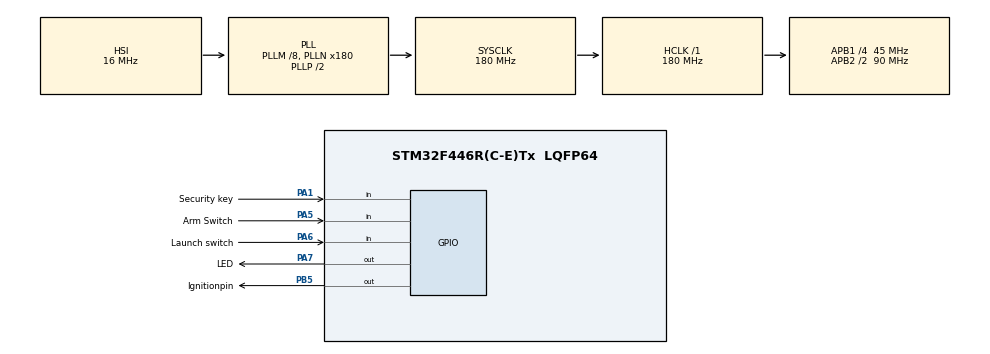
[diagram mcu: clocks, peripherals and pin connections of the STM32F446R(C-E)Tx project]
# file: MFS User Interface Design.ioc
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Mcu.Family=STM32F4
Mcu.Name=STM32F446R(C-E)Tx
Mcu.Package=LQFP64
NVIC.PriorityGroup=NVIC_PRIORITYGROUP_4
PA1.GPIO_Label=Security key
PA1.GPIO_PuPd=GPIO_PULLDOWN
PA1.Signal=GPIO_Input
PA13.Mode=Serial_Wire
PA13.Signal=SYS_JTMS-SWDIO
PA14.Mode=Serial_Wire
PA14.Signal=SYS_JTCK-SWCLK
PA5.GPIO_Label=Arm Switch
PA5.GPIO_PuPd=GPIO_PULLDOWN
PA5.Signal=GPIO_Input
PA6.GPIO_Label=Launch switch
PA6.GPIO_PuPd=GPIO_PULLDOWN
PA6.Signal=GPIO_Input
PA7.GPIO_Label=LED
PA7.GPIO_PuPd=GPIO_PULLDOWN
PA7.Signal=GPIO_Output
PB5.GPIO_Label=Ignitionpin
PB5.GPIO_PuPd=GPIO_PULLUP
PB5.PinState=GPIO_PIN_SET
PB5.Signal=GPIO_Output
ProjectManager.HeapSize=0x200
ProjectManager.StackSize=0x400
ProjectManager.TargetToolchain=STM32CubeIDE
RCC.AHBFreq_Value=180000000
RCC.APB1CLKDivider=RCC_HCLK_DIV4
RCC.APB1Freq_Value=45000000
RCC.APB1TimFreq_Value=90000000
RCC.APB2CLKDivider=RCC_HCLK_DIV2
RCC.APB2Freq_Value=90000000
RCC.APB2TimFreq_Value=180000000
RCC.CortexFreq_Value=180000000
RCC.HCLKFreq_Value=180000000
RCC.PLLM=8
RCC.PLLN=180
RCC.SYSCLKFreq_VALUE=180000000
RCC.SYSCLKSource=RCC_SYSCLKSOURCE_PLLCLK
RCC.USBFreq_Value=180000000
RCC.VCOOutputFreq_Value=360000000
board=custom

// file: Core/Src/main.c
/* USER CODE BEGIN Header */
/**
 ******************************************************************************
 * @file           : main.c
 * @brief          : Main program body
 ******************************************************************************
 * @attention
 *
 * Copyright (c) 2023 STMicroelectronics.
 * All rights reserved.
 *
 * This software is licensed under terms that can be found in the LICENSE file
 * in the root directory of this software component.
 * If no LICENSE file comes with this software, it is provided AS-IS.
 *
 ******************************************************************************
 */
/* USER CODE END Header */
#include "main.h"

/* USER CODE BEGIN Includes */
#include<stdbool.h>
#include<stdlib.h>
/* USER CODE END Includes */

void SystemClock_Config(void);
static void MX_GPIO_Init(void);

/* USER CODE BEGIN 0 */
bool Sec_key = 0, Arm_switch = 0, Ign_switch = 0;
bool seq_flag = 0;
bool ignition = 0;
void seq_check()
	{
		if(HAL_GPIO_ReadPin(GPIOA, GPIO_PIN_1) == 0 && HAL_GPIO_ReadPin(GPIOA, GPIO_PIN_5)== 0 && HAL_GPIO_ReadPin(GPIOA, GPIO_PIN_6) == 0) seq_flag = 1;
		else if(Sec_key==0 && HAL_GPIO_ReadPin(GPIOA, GPIO_PIN_5)==1) seq_flag=0;

	}

/* USER CODE END 0 */

int main(void)
{

  /* MCU Configuration--------------------------------------------------------*/

  /* Reset of all peripherals, Initializes the Flash interface and the Systick. */
  HAL_Init();

  /* Configure the system clock */
  SystemClock_Config();

  /* Initialize all configured peripherals */
  MX_GPIO_Init();

  /* Infinite loop */
  /* USER CODE BEGIN WHILE */
	while (1)
	{
		seq_check();
		if(seq_flag ==1){

			if(HAL_GPIO_ReadPin(GPIOA, GPIO_PIN_1) == 1 || Sec_key == 1)
			{
				Sec_key=1;

				if(HAL_GPIO_ReadPin(GPIOA, GPIO_PIN_1) == 0 && Arm_switch == 0  ) {
					Sec_key = 0; // Notify the user to reset the inputs
					seq_flag = 0;
					Arm_switch = 0;
					Ign_switch = 0;
				}

				else{
					if(HAL_GPIO_ReadPin(GPIOA, GPIO_PIN_5)== 1 || Arm_switch == 1 ){
						Arm_switch = 1;

						if(HAL_GPIO_ReadPin(GPIOA, GPIO_PIN_5) == 0) Arm_switch = 0;

						if(HAL_GPIO_ReadPin(GPIOA, GPIO_PIN_6) == 1 || Ign_switch == 1 ){
							HAL_Delay(5000);
							if(HAL_GPIO_ReadPin(GPIOA, GPIO_PIN_6) == 1) {
								Ign_switch = 1;

								HAL_GPIO_TogglePin(GPIOA, GPIO_PIN_7);
								HAL_GPIO_WritePin(GPIOB, GPIO_PIN_5, 0);
								HAL_Delay(2000);
								HAL_GPIO_TogglePin(GPIOA, GPIO_PIN_7);

								exit(0);
							}
							else
							{
								Sec_key=0;
								Arm_switch = 0;
								seq_flag = 0;
							}

						}
					}
				}
			}

		}
    /* USER CODE END WHILE */

	}
}

void SystemClock_Config(void)
{
  RCC_OscInitTypeDef RCC_OscInitStruct = {0};
  RCC_ClkInitTypeDef RCC_ClkInitStruct = {0};

  /** Configure the main internal regulator output voltage
  */
  __HAL_RCC_PWR_CLK_ENABLE();
  __HAL_PWR_VOLTAGESCALING_CONFIG(PWR_REGULATOR_VOLTAGE_SCALE1);
  /** Initializes the RCC Oscillators according to the specified parameters
  * in the RCC_OscInitTypeDef structure.
  */
  RCC_OscInitStruct.OscillatorType = RCC_OSCILLATORTYPE_HSI;
  RCC_OscInitStruct.HSIState = RCC_HSI_ON;
  RCC_OscInitStruct.HSICalibrationValue = RCC_HSICALIBRATION_DEFAULT;
  RCC_OscInitStruct.PLL.PLLState = RCC_PLL_ON;
  RCC_OscInitStruct.PLL.PLLSource = RCC_PLLSOURCE_HSI;
  RCC_OscInitStruct.PLL.PLLM = 8;
  RCC_OscInitStruct.PLL.PLLN = 180;
  RCC_OscInitStruct.PLL.PLLP = RCC_PLLP_DIV2;
  RCC_OscInitStruct.PLL.PLLQ = 2;
  RCC_OscInitStruct.PLL.PLLR = 2;
  if (HAL_RCC_OscConfig(&RCC_OscInitStruct) != HAL_OK)
  {
    Error_Handler();
  }
  /** Activate the Over-Drive mode
  */
  if (HAL_PWREx_EnableOverDrive() != HAL_OK)
  {
    Error_Handler();
  }
  /** Initializes the CPU, AHB and APB buses clocks
  */
  RCC_ClkInitStruct.ClockType = RCC_CLOCKTYPE_HCLK|RCC_CLOCKTYPE_SYSCLK
                              |RCC_CLOCKTYPE_PCLK1|RCC_CLOCKTYPE_PCLK2;
  RCC_ClkInitStruct.SYSCLKSource = RCC_SYSCLKSOURCE_PLLCLK;
  RCC_ClkInitStruct.AHBCLKDivider = RCC_SYSCLK_DIV1;
  RCC_ClkInitStruct.APB1CLKDivider = RCC_HCLK_DIV4;
  RCC_ClkInitStruct.APB2CLKDivider = RCC_HCLK_DIV2;

  if (HAL_RCC_ClockConfig(&RCC_ClkInitStruct, FLASH_LATENCY_5) != HAL_OK)
  {
    Error_Handler();
  }
}

static void MX_GPIO_Init(void)
{
  GPIO_InitTypeDef GPIO_InitStruct = {0};

  /* GPIO Ports Clock Enable */
  __HAL_RCC_GPIOA_CLK_ENABLE();
  __HAL_RCC_GPIOB_CLK_ENABLE();

  /*Configure GPIO pin Output Level */
  HAL_GPIO_WritePin(LED_GPIO_Port, LED_Pin, GPIO_PIN_RESET);

  /*Configure GPIO pin Output Level */
  HAL_GPIO_WritePin(Ignitionpin_GPIO_Port, Ignitionpin_Pin, GPIO_PIN_SET);

  /*Configure GPIO pins : Security_key_Pin Arm_Switch_Pin Launch_switch_Pin */
  GPIO_InitStruct.Pin = Security_key_Pin|Arm_Switch_Pin|Launch_switch_Pin;
  GPIO_InitStruct.Mode = GPIO_MODE_INPUT;
  GPIO_InitStruct.Pull = GPIO_PULLDOWN;
  HAL_GPIO_Init(GPIOA, &GPIO_InitStruct);

  /*Configure GPIO pin : LED_Pin */
  GPIO_InitStruct.Pin = LED_Pin;
  GPIO_InitStruct.Mode = GPIO_MODE_OUTPUT_PP;
  GPIO_InitStruct.Pull = GPIO_PULLDOWN;
  GPIO_InitStruct.Speed = GPIO_SPEED_FREQ_LOW;
  HAL_GPIO_Init(LED_GPIO_Port, &GPIO_InitStruct);

  /*Configure GPIO pin : Ignitionpin_Pin */
  GPIO_InitStruct.Pin = Ignitionpin_Pin;
  GPIO_InitStruct.Mode = GPIO_MODE_OUTPUT_PP;
  GPIO_InitStruct.Pull = GPIO_PULLUP;
  GPIO_InitStruct.Speed = GPIO_SPEED_FREQ_LOW;
  HAL_GPIO_Init(Ignitionpin_GPIO_Port, &GPIO_InitStruct);

}

void Error_Handler(void)
{
	__disable_irq();
	while (1)
	{
	}
}
